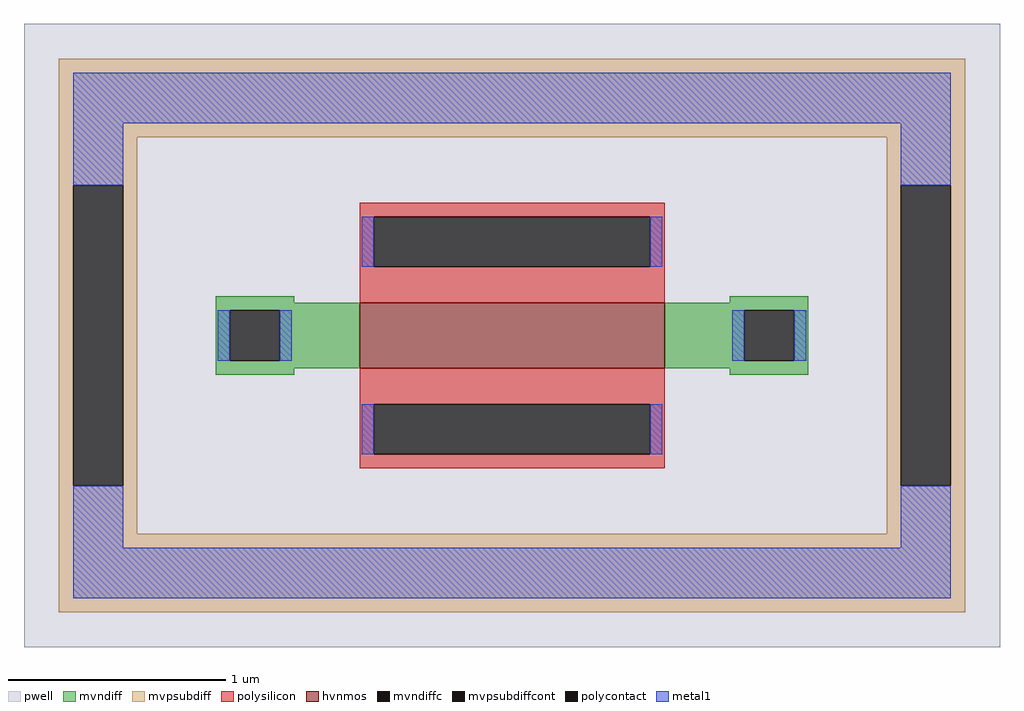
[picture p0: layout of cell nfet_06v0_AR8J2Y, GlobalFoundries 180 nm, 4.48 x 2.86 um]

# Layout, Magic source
magic
tech gf180mcuC
magscale 1 10
<< pwell >>
rect -448 -286 448 286
<< hvnmos >>
rect -140 -30 140 30
<< mvndiff >>
rect -272 30 -200 36
rect 200 30 272 36
rect -272 23 -140 30
rect -272 -23 -259 23
rect -213 -23 -140 23
rect -272 -30 -140 -23
rect 140 23 272 30
rect 140 -23 213 23
rect 259 -23 272 23
rect 140 -30 272 -23
rect -272 -36 -200 -30
rect 200 -36 272 -30
<< mvndiffc >>
rect -259 -23 -213 23
rect 213 -23 259 23
<< mvpsubdiff >>
rect -416 182 416 254
rect -416 138 -344 182
rect -416 -138 -403 138
rect -357 -138 -344 138
rect 344 138 416 182
rect -416 -182 -344 -138
rect 344 -138 357 138
rect 403 -138 416 138
rect 344 -182 416 -138
rect -416 -254 416 -182
<< mvpsubdiffcont >>
rect -403 -138 -357 138
rect 357 -138 403 138
<< polysilicon >>
rect -140 109 140 122
rect -140 63 -127 109
rect 127 63 140 109
rect -140 30 140 63
rect -140 -63 140 -30
rect -140 -109 -127 -63
rect 127 -109 140 -63
rect -140 -122 140 -109
<< polycontact >>
rect -127 63 127 109
rect -127 -109 127 -63
<< metal1 >>
rect -403 195 403 241
rect -403 138 -357 195
rect 357 138 403 195
rect -138 63 -127 109
rect 127 63 138 109
rect -270 -23 -259 23
rect -213 -23 -202 23
rect 202 -23 213 23
rect 259 -23 270 23
rect -138 -109 -127 -63
rect 127 -109 138 -63
rect -403 -195 -357 -138
rect 357 -195 403 -138
rect -403 -241 403 -195
<< properties >>
string FIXED_BBOX -380 -218 380 218
string gencell nfet_06v0
string library gf180mcu
string parameters w 0.3 l 1.4 m 1 nf 1 diffcov 100 polycov 100 guard 1 glc 1 grc 1 gtc 0 gbc 0 tbcov 100 rlcov 100 topc 1 botc 1 poverlap 0 doverlap 1 lmin 0.7 wmin 0.3 class mosfet full_metal 1 compatible {nfet_03v3 nfet_05v0 nfet_06v0 nfet_06v0_nvt} ad {int((nf+1)/2) * W/nf * 0.18u} as {int((nf+2)/2) * W/nf * 0.18u} pd {2*int((nf+1)/2) * (W/nf + 0.18u)} ps {2*int((nf+2)/2) * (W/nf + 0.18u)} nrd {0.18u / W} nrs {0.18u / W} sa 0 sb 0 sd 0
<< end >>
